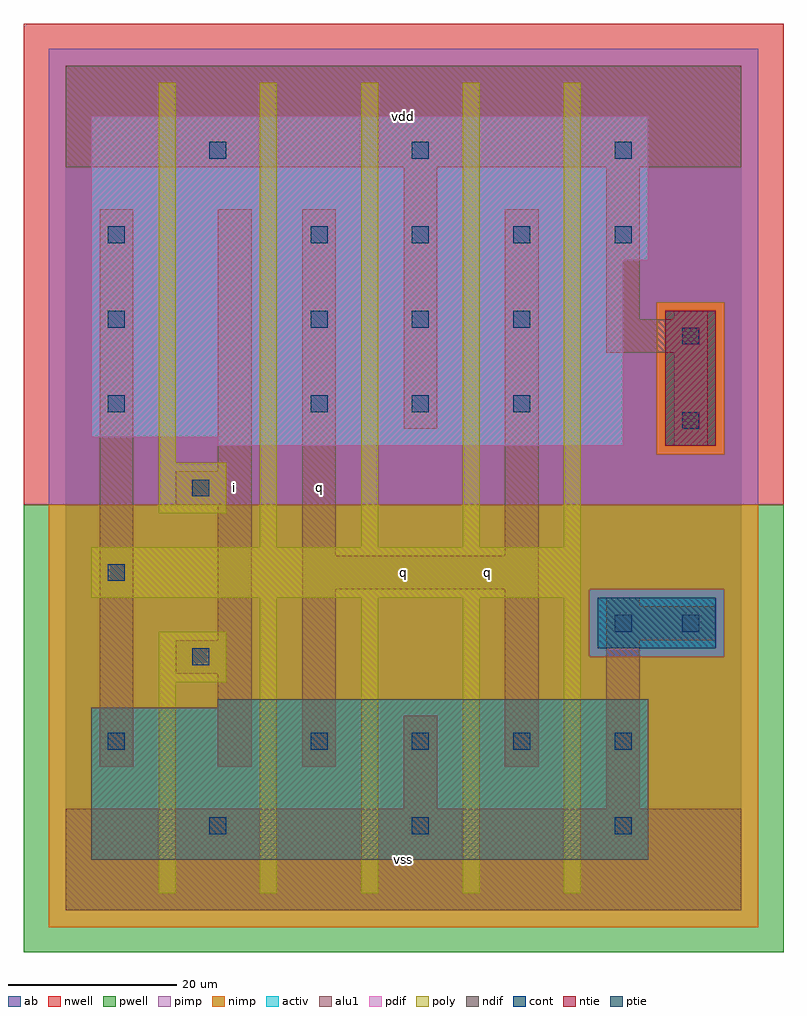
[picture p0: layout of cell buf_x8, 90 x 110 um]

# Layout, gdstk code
import gdstk
lib = gdstk.Library(unit=1e-6, precision=1e-09)
def R(c, l, rs):  # rectangles x0, y0, x1, y1
    for r in rs: c.add(gdstk.rectangle(r[:2], r[2:], *l))
def A(c, l, x, y, w, h, nx, ny, dx, dy):  # array of equal rectangles
    R(c, l, [(x+i*dx, y+j*dy, x+i*dx+w, y+j*dy+h) for i in range(nx) for j in range(ny)])
ndif = (3, 0)
pdif = (4, 0)
ntie = (5, 0)
ptie = (6, 0)
cont = (25, 0)
pwell = (41, 0)
nwell = (42, 0)
activ = (43, 0)
pimp = (44, 0)
nimp = (45, 0)
poly = (46, 0)
alu1 = (49, 0)
ab = (63, 0)

buf_x8 = lib.new_cell('buf_x8')
R(buf_x8, ndif, [(3,6,69,24), (18,24,69,25)])
R(buf_x8, pdif, [(18,55,66,56), (3,56,66,77), (3,77,69,94)])
R(buf_x8, ntie, [(71,55,77,71)])
R(buf_x8, ptie, [(63,31,77,37)])
A(buf_x8, cont, 17, 9, 2, 2, 3, 2, 24, 80)
A(buf_x8, cont, 5, 19, 2, 2, 1, 3, 0, 20)
A(buf_x8, cont, 29, 19, 2, 2, 4, 2, 12, 60)
A(buf_x8, cont, 29, 59, 2, 2, 3, 2, 12, 10)
R(buf_x8, cont, [(15,29,17,31), (65,33,67,35), (73,33,75,35), (15,49,17,51), (73,57,75,59), (73,67,75,69), (5,69,7,71), (5,79,7,81)])
R(buf_x8, pwell, [(-5,-5,85,48)])
R(buf_x8, nwell, [(-5,48,85,105)])
R(buf_x8, activ, [(3,6,69,24), (18,24,69,25), (63,31,77,37), (18,55,66,56), (71,55,77,71), (3,56,66,77), (3,77,69,94)])
R(buf_x8, pimp, [(62,30,78,38), (-2,48,82,54), (-2,54,70,72), (78,54,82,72), (-2,72,82,102)])
R(buf_x8, nimp, [(-2,-2,82,30), (-2,30,62,38), (78,30,82,38), (-2,38,82,48), (70,54,78,72)])
A(buf_x8, poly, 23, 2, 2, 35, 4, 1, 12, 0)
A(buf_x8, poly, 23, 43, 2, 55, 4, 1, 12, 0)
R(buf_x8, poly, [(11,2,13,27), (11,27,19,33), (3,37,61,43), (11,47,19,53), (11,53,13,98)])
R(buf_x8, alu1, [(0,0,80,12), (40,12,44,23), (64,12,68,32), (4,17,8,83), (18,17,22,28), (28,17,32,38), (52,17,56,38), (13,28,22,32), (18,32,22,48), (64,32,77,36), (64,36,68,37), (28,38,56,42), (28,42,32,83), (52,42,56,83), (13,48,22,52), (18,52,22,83), (72,55,76,66), (40,57,44,88), (64,66,76,70), (64,70,68,88), (72,70,76,71), (0,88,80,100)])
R(buf_x8, ab, [(0,0,80,100)])
buf_x8.add(gdstk.Label('q', (30,50), layer=49, texttype=0))
buf_x8.add(gdstk.Label('i', (20,50), layer=49, texttype=0))
buf_x8.add(gdstk.Label('vss', (40,6), layer=49, texttype=0))
buf_x8.add(gdstk.Label('q', (40,40), layer=49, texttype=0))
buf_x8.add(gdstk.Label('q', (50,40), layer=49, texttype=0))
buf_x8.add(gdstk.Label('vdd', (40,94), layer=49, texttype=0))

lib.write_gds('buf_x8.gds')
